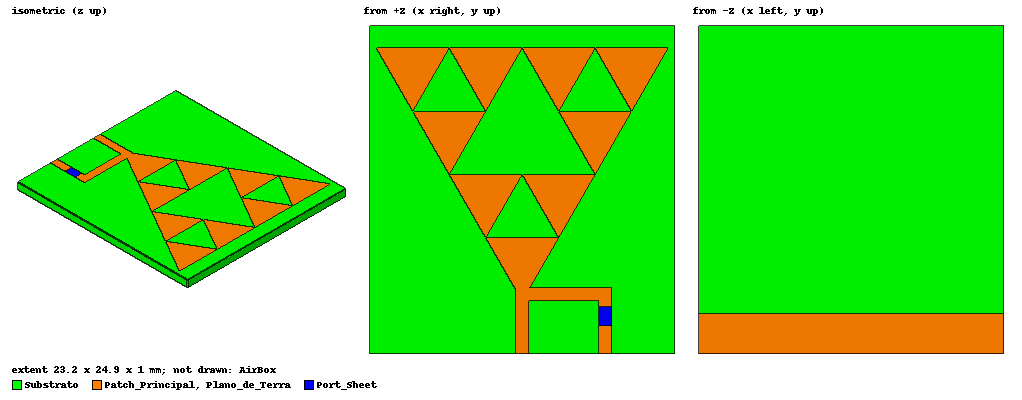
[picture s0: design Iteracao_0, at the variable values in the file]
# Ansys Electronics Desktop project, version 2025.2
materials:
  vacuum: permittivity=1
  epoxy_Kevlar: permittivity=3.6

design Iteracao_0 (HFSS, HFSS Hybrid Modal Network, model units mm)
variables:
  W_sub = 23.2mm
  L_sub = 24.9mm
  L = 4.8mm
  Ratio_R = 0.577
  W = Ratio_R*L
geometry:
  Substrato [epoxy_Kevlar] = box(corner=(-11.6mm, 0mm, 0mm), size=(23.2mm, 24.9mm, 1mm))
  Plano_de_Terra = rectangle(corner=(-11.6mm, 0mm, 0mm), x_size=23.2mm, y_size=3mm)
  Patch_Principal = polyline(z=1mm, xy: (0mm, 4mm) (4*W, 4.0mm + 4*L) (-4*W, 4.0mm + 4*L) (0mm, 4mm), closed, covered)
  Cutout_1 = polyline(z=1mm, xy: (2.0*W, 4.0mm + 2.0*L) (0mm, 4.0mm + 4.0*L) (-2.0*W, 4.0mm + 2.0*L) (2.0*W, 4.0mm + 2.0*L), closed, covered)
  Cutout_2 = polyline(z=1mm, xy: (1.0*W, 4.0mm + 1.0*L) (0mm, 4.0mm + 2.0*L) (-1.0*W, 4.0mm + 1.0*L) (1.0*W, 4.0mm + 1.0*L), closed, covered)
  Cutout_3 = polyline(z=1mm, xy: (3.0*W, 4.0mm + 3.0*L) (2.0*W, 4.0mm + 4.0*L) (1.0*W, 4.0mm + 3.0*L) (3.0*W, 4.0mm + 3.0*L), closed, covered)
  Cutout_4 = polyline(z=1mm, xy: (-1.0*W, 4.0mm + 3.0*L) (-2.0*W, 4.0mm + 4.0*L) (-3.0*W, 4.0mm + 3.0*L) (-1.0*W, 4.0mm + 3.0*L), closed, covered)
  Patch_Principal.subtract(Cutout_1..Cutout_4)
  Loop_Left = rectangle(corner=(-0.5mm, 0mm, 1mm), x_size=1mm, y_size=5mm)
  Loop_Top = rectangle(corner=(0.5mm, 4mm, 1mm), x_size=5.3mm, y_size=1mm)
  Loop_Right_Bottom = rectangle(corner=(5.8mm, 0mm, 1mm), x_size=1mm, y_size=2.1mm)
  Loop_Right_Top = rectangle(corner=(5.8mm, 3.6mm, 1mm), x_size=1mm, y_size=1.4mm)
  Patch_Principal.unite(Loop_Left, Loop_Top, Loop_Right_Bottom, Loop_Right_Top)
  Via_Left = rectangle(corner=(-0.5mm, 0mm, 0mm), z_size=1mm, x_size=1mm)
  Via_Right = rectangle(corner=(5.8mm, 0mm, 0mm), z_size=1mm, x_size=1mm)
  Port_Sheet = rectangle(corner=(5.8mm, 2.1mm, 1mm), x_size=1mm, y_size=1.5mm)
  AirBox [vacuum] = box(corner=(-40mm, -30mm, -30mm), size=(80mm, 85mm, 61mm))
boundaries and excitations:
  GND_PerfectE: Perfect E Objects=Plano_de_Terra
  Patch_PerfectE: Perfect E Objects=Patch_Principal
  ViaLeft_E: Perfect E Objects=Via_Left
  ViaRight_E: Perfect E Objects=Via_Right
  Radiation1: Radiation Objects=AirBox
  Port1: Lumped Port Objects=Port_Sheet LumpedPortType=Modal Modes{Mode1{IntLine{(6.3, 2.1, 1) -> (6.3, 3.6, 1)} CharImp=Zpi RenormImp=50ohm}} Impedance="30ohm - 200i ohm"
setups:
  Setup1: HfssDriven Frequency=2.45GHz MaxDeltaS=0.02 MaximumPasses=15 MinimumPasses=1 MinimumConvergedPasses=1 PercentRefinement=30 BasisOrder=1 PortAccuracy=2 DrivenSolverType="Direct Solver"
    sweep Sweep1: 1.5GHz to 4GHz step 0.01GHz; Type=Interpolating InterpTolerance=0.5 InterpMaxSolns=250 InterpUsePortImped=false PassivityErrorTolerance=0.0001
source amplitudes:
  Port1:1: 1W 0deg
